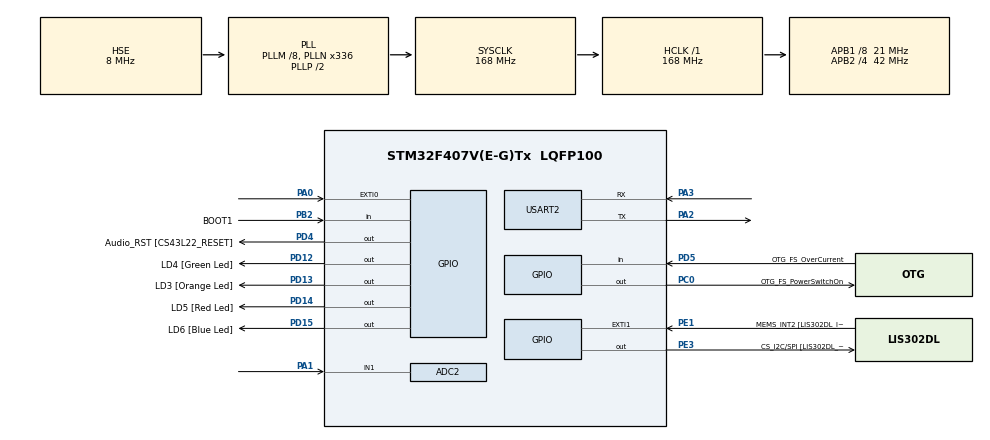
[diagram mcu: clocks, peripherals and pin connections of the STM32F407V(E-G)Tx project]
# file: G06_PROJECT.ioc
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ADC2.Channel-4\#ChannelRegularConversion=ADC_CHANNEL_1
ADC2.ClockPrescaler=ADC_CLOCK_SYNC_PCLK_DIV2
ADC2.ContinuousConvMode=DISABLE
ADC2.DMAContinuousRequests=DISABLE
ADC2.DataAlign=ADC_DATAALIGN_RIGHT
ADC2.DiscontinuousConvMode=DISABLE
ADC2.EOCSelection=ADC_EOC_SINGLE_CONV
ADC2.EnableAnalogWatchDog=false
ADC2.ExternalTrigConv=ADC_EXTERNALTRIGCONV_T2_TRGO
ADC2.ExternalTrigConvEdge=ADC_EXTERNALTRIGCONVEDGE_RISING
ADC2.InjNumberOfConversion=0
ADC2.NbrOfConversion=1
ADC2.NbrOfConversionFlag=1
ADC2.Rank-4\#ChannelRegularConversion=1
ADC2.Resolution=ADC_RESOLUTION_8B
ADC2.SamplingTime-4\#ChannelRegularConversion=ADC_SAMPLETIME_3CYCLES
ADC2.ScanConvMode=DISABLE
Mcu.Family=STM32F4
Mcu.Name=STM32F407V(E-G)Tx
Mcu.Package=LQFP100
NVIC.ADC_IRQn=true\:0\:0\:false\:false\:true
NVIC.PriorityGroup=NVIC_PRIORITYGROUP_0
NVIC.TIM2_IRQn=true\:0\:0\:false\:false\:true
PA0-WKUP.GPIO_PuPd=GPIO_PULLDOWN
PA0-WKUP.Signal=GPXTI0
PA1.Signal=ADCx_IN1
PA10.GPIO_Label=OTG_FS_ID
PA10.GPIO_Mode=GPIO_MODE_AF_PP
PA10.GPIO_PuPd=GPIO_NOPULL
PA10.GPIO_Speed=GPIO_SPEED_FREQ_LOW
PA10.Signal=USB_OTG_FS_ID
PA11.GPIO_Label=OTG_FS_DM
PA11.GPIO_Mode=GPIO_MODE_AF_PP
PA11.GPIO_PuPd=GPIO_NOPULL
PA11.GPIO_Speed=GPIO_SPEED_FREQ_LOW
PA11.Signal=USB_OTG_FS_DM
PA12.GPIO_Label=OTG_FS_DP
PA12.GPIO_Mode=GPIO_MODE_AF_PP
PA12.GPIO_PuPd=GPIO_NOPULL
PA12.GPIO_Speed=GPIO_SPEED_FREQ_LOW
PA12.Signal=USB_OTG_FS_DP
PA13.GPIO_Label=SWDIO
PA13.Signal=SYS_JTMS-SWDIO
PA14.GPIO_Label=SWCLK
PA14.Signal=SYS_JTCK-SWCLK
PA2.Mode=Asynchronous
PA2.Signal=USART2_TX
PA3.Mode=Asynchronous
PA3.Signal=USART2_RX
PA4.GPIO_Label=I2S3_WS [CS43L22_LRCK]
PA4.GPIO_Mode=GPIO_MODE_AF_PP
PA4.GPIO_PuPd=GPIO_NOPULL
PA4.GPIO_Speed=GPIO_SPEED_FREQ_LOW
PA4.Signal=I2S3_WS
PA5.GPIO_Label=SPI1_SCK [LIS302DL_SCL/SPC]
PA5.GPIO_Mode=GPIO_MODE_AF_PP
PA5.GPIO_PuPd=GPIO_NOPULL
PA5.GPIO_Speed=GPIO_SPEED_FREQ_LOW
PA5.Signal=SPI1_SCK
PA6.GPIO_Label=SPI1_MISO [LIS302DL_SDO]
PA6.GPIO_Mode=GPIO_MODE_AF_PP
PA6.GPIO_PuPd=GPIO_NOPULL
PA6.GPIO_Speed=GPIO_SPEED_FREQ_LOW
PA6.Signal=SPI1_MISO
PA7.GPIO_Label=SPI1_MOSI [LIS302DL_SDA/SDI/SDO]
PA7.GPIO_Mode=GPIO_MODE_AF_PP
PA7.GPIO_PuPd=GPIO_NOPULL
PA7.GPIO_Speed=GPIO_SPEED_FREQ_LOW
PA7.Signal=SPI1_MOSI
PA9.GPIO_Label=VBUS_FS
PA9.GPIO_Mode=GPIO_MODE_INPUT
PA9.GPIO_PuPd=GPIO_NOPULL
PA9.Signal=USB_OTG_FS_VBUS
PB10.GPIO_Label=CLK_IN [MP45DT02_CLK]
PB10.GPIO_Mode=GPIO_MODE_AF_PP
PB10.GPIO_PuPd=GPIO_NOPULL
PB10.GPIO_Speed=GPIO_SPEED_FREQ_LOW
PB10.Signal=I2S2_CK
PB2.GPIO_Label=BOOT1
PB2.GPIO_Mode=GPIO_MODE_INPUT
PB2.GPIO_PuPd=GPIO_NOPULL
PB2.Signal=GPIO_Input
PB3.GPIO_Label=SWO
PB3.Signal=SYS_JTDO-SWO
PB6.GPIO_Label=Audio_SCL [CS43L22_SCL]
PB6.GPIO_Mode=GPIO_MODE_AF_OD
PB6.GPIO_PuPd=GPIO_NOPULL
PB6.GPIO_Speed=GPIO_SPEED_FREQ_LOW
PB6.Signal=I2C1_SCL
PB9.GPIO_Label=Audio_SDA [CS43L22_SDA]
PB9.GPIO_Mode=GPIO_MODE_AF_OD
PB9.GPIO_PuPd=GPIO_NOPULL
PB9.GPIO_Speed=GPIO_SPEED_FREQ_LOW
PB9.Signal=I2C1_SDA
PC0.GPIO_Label=OTG_FS_PowerSwitchOn
PC0.GPIO_PuPd=GPIO_NOPULL
PC0.GPIO_Speed=GPIO_SPEED_FREQ_LOW
PC0.PinState=GPIO_PIN_SET
PC0.Signal=GPIO_Output
PC10.GPIO_Label=I2S3_SCK [CS43L22_SCLK]
PC10.GPIO_Mode=GPIO_MODE_AF_PP
PC10.GPIO_PuPd=GPIO_NOPULL
PC10.GPIO_Speed=GPIO_SPEED_FREQ_LOW
PC10.Signal=I2S3_CK
PC12.GPIO_Label=I2S3_SD [CS43L22_SDIN]
PC12.GPIO_Mode=GPIO_MODE_AF_PP
PC12.GPIO_PuPd=GPIO_NOPULL
PC12.GPIO_Speed=GPIO_SPEED_FREQ_LOW
PC12.Signal=I2S3_SD
PC14-OSC32_IN.GPIO_Label=PC14-OSC32_IN
PC14-OSC32_IN.Signal=RCC_OSC32_IN
PC15-OSC32_OUT.GPIO_Label=PC15-OSC32_OUT
PC15-OSC32_OUT.Signal=RCC_OSC32_OUT
PC3.GPIO_Label=PDM_OUT [MP45DT02_DOUT]
PC3.GPIO_Mode=GPIO_MODE_AF_PP
PC3.GPIO_PuPd=GPIO_NOPULL
PC3.GPIO_Speed=GPIO_SPEED_FREQ_LOW
PC3.Signal=I2S2_SD
PC7.GPIO_Label=I2S3_MCK [CS43L22_MCLK]
PC7.GPIO_Mode=GPIO_MODE_AF_PP
PC7.GPIO_PuPd=GPIO_NOPULL
PC7.GPIO_Speed=GPIO_SPEED_FREQ_LOW
PC7.Signal=I2S3_MCK
PD12.GPIO_Label=LD4 [Green Led]
PD12.GPIO_PuPd=GPIO_NOPULL
PD12.GPIO_Speed=GPIO_SPEED_FREQ_LOW
PD12.Signal=GPIO_Output
PD13.GPIO_Label=LD3 [Orange Led]
PD13.GPIO_PuPd=GPIO_NOPULL
PD13.GPIO_Speed=GPIO_SPEED_FREQ_LOW
PD13.Signal=GPIO_Output
PD14.GPIO_Label=LD5 [Red Led]
PD14.GPIO_PuPd=GPIO_NOPULL
PD14.GPIO_Speed=GPIO_SPEED_FREQ_LOW
PD14.Signal=GPIO_Output
PD15.GPIO_Label=LD6 [Blue Led]
PD15.GPIO_PuPd=GPIO_NOPULL
PD15.GPIO_Speed=GPIO_SPEED_FREQ_LOW
PD15.Signal=GPIO_Output
PD4.GPIO_Label=Audio_RST [CS43L22_RESET]
PD4.GPIO_PuPd=GPIO_NOPULL
PD4.GPIO_Speed=GPIO_SPEED_FREQ_LOW
PD4.Signal=GPIO_Output
PD5.GPIO_Label=OTG_FS_OverCurrent
PD5.GPIO_Mode=GPIO_MODE_INPUT
PD5.GPIO_PuPd=GPIO_NOPULL
PD5.Signal=GPIO_Input
PE1.GPIO_Label=MEMS_INT2 [LIS302DL_INT2]
PE1.GPIO_ModeDefaultEXTI=GPIO_MODE_EVT_RISING
PE1.GPIO_PuPd=GPIO_NOPULL
PE1.Signal=GPXTI1
PE3.GPIO_Label=CS_I2C/SPI [LIS302DL_CS_I2C/SPI]
PE3.GPIO_PuPd=GPIO_NOPULL
PE3.GPIO_Speed=GPIO_SPEED_FREQ_LOW
PE3.Signal=GPIO_Output
PH0-OSC_IN.GPIO_Label=PH0-OSC_IN
PH0-OSC_IN.Mode=HSE-External-Oscillator
PH0-OSC_IN.Signal=RCC_OSC_IN
PH1-OSC_OUT.GPIO_Label=PH1-OSC_OUT
PH1-OSC_OUT.Mode=HSE-External-Oscillator
PH1-OSC_OUT.Signal=RCC_OSC_OUT
ProjectManager.HeapSize=0x200
ProjectManager.StackSize=0x400
ProjectManager.TargetToolchain=MDK-ARM V5
RCC.48MHZClocksFreq_Value=48000000
RCC.AHBFreq_Value=168000000
RCC.APB1CLKDivider=RCC_HCLK_DIV8
RCC.APB1Freq_Value=21000000
RCC.APB1TimFreq_Value=42000000
RCC.APB2CLKDivider=RCC_HCLK_DIV4
RCC.APB2Freq_Value=42000000
RCC.APB2TimFreq_Value=84000000
RCC.CortexFreq_Value=168000000
RCC.HCLKFreq_Value=168000000
RCC.HSE_VALUE=8000000
RCC.HSI_VALUE=16000000
RCC.LSE_VALUE=32768
RCC.PLLM=8
RCC.PLLN=336
RCC.PLLQ=7
RCC.PLLSourceVirtual=RCC_PLLSOURCE_HSE
RCC.SYSCLKFreq_VALUE=168000000
RCC.SYSCLKSource=RCC_SYSCLKSOURCE_PLLCLK
RCC.VCOOutputFreq_Value=336000000
SH.ADCx_IN1.0=ADC2_IN1,IN1
TIM2.Period=105
TIM2.Prescaler=50
TIM2.TIM_MasterOutputTrigger=TIM_TRGO_UPDATE
USART2.VirtualMode=VM_ASYNC
VP_TIM2_VS_ClockSourceINT.Mode=Internal
board=STM32F4DISCOVERY

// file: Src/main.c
/**
  ******************************************************************************
  * File Name          : main.c
  * Description        : Main program body
  ******************************************************************************
  ** This notice applies to any and all portions of this file
  * that are not between comment pairs USER CODE BEGIN and
  * USER CODE END. Other portions of this file, whether
  * inserted by the user or by software development tools
  * are owned by their respective copyright owners.
  *
  * COPYRIGHT(c) 2017 STMicroelectronics
  *
  * Redistribution and use in source and binary forms, with or without modification,
  * are permitted provided that the following conditions are met:
  *   1. Redistributions of source code must retain the above copyright notice,
  *      this list of conditions and the following disclaimer.
  *   2. Redistributions in binary form must reproduce the above copyright notice,
  *      this list of conditions and the following disclaimer in the documentation
  *      and/or other materials provided with the distribution.
  *   3. Neither the name of STMicroelectronics nor the names of its contributors
  *      may be used to endorse or promote products derived from this software
  *      without specific prior written permission.
  *
  * THIS SOFTWARE IS PROVIDED BY THE COPYRIGHT HOLDERS AND CONTRIBUTORS "AS IS"
  * AND ANY EXPRESS OR IMPLIED WARRANTIES, INCLUDING, BUT NOT LIMITED TO, THE
  * IMPLIED WARRANTIES OF MERCHANTABILITY AND FITNESS FOR A PARTICULAR PURPOSE ARE
  * DISCLAIMED. IN NO EVENT SHALL THE COPYRIGHT HOLDER OR CONTRIBUTORS BE LIABLE
  * FOR ANY DIRECT, INDIRECT, INCIDENTAL, SPECIAL, EXEMPLARY, OR CONSEQUENTIAL
  * DAMAGES (INCLUDING, BUT NOT LIMITED TO, PROCUREMENT OF SUBSTITUTE GOODS OR
  * SERVICES; LOSS OF USE, DATA, OR PROFITS; OR BUSINESS INTERRUPTION) HOWEVER
  * CAUSED AND ON ANY THEORY OF LIABILITY, WHETHER IN CONTRACT, STRICT LIABILITY,
  * OR TORT (INCLUDING NEGLIGENCE OR OTHERWISE) ARISING IN ANY WAY OUT OF THE USE
  * OF THIS SOFTWARE, EVEN IF ADVISED OF THE POSSIBILITY OF SUCH DAMAGE.
  *
  ******************************************************************************
  */
#include "main.h"
#include "stm32f4xx_hal.h"
#include "adc.h"
#include "tim.h"
#include "usart.h"
#include "gpio.h"

/* USER CODE BEGIN Includes */
#include "math.h"
#include "string.h"
#include "stdlib.h"
/* USER CODE END Includes */

/* USER CODE BEGIN PV */
/* Private variables ---------------------------------------------------------*/
//---Push Button Control
int start = 0;

//---Buffer Control
#define WINDOW_SIZE 500
uint8_t ping[WINDOW_SIZE];
uint8_t pong[WINDOW_SIZE];

int pointer = 0;
int count = 0;
int ntransfers = 0;
unsigned int adcVal = 0;	//stores sample from ADC

//---Transmission Control
uint8_t Tbuffer[] = {0x35, 0x36, 0x37};
const uint32_t TIMEOUT = 200;
const uint16_t SIZE = sizeof(Tbuffer)/sizeof(Tbuffer[0]);
HAL_StatusTypeDef transmit_status;
HAL_StatusTypeDef receive_status;

uint8_t Rbuffer[SIZE];
/* USER CODE END PV */

void SystemClock_Config(void);

/* USER CODE BEGIN PFP */
/* Private function prototypes -----------------------------------------------*/
void transmit(void);
void receive(void);
/* USER CODE END PFP */

int main(void)
{

  /* MCU Configuration----------------------------------------------------------*/

  /* Reset of all peripherals, Initializes the Flash interface and the Systick. */
  HAL_Init();

  /* Configure the system clock */
  SystemClock_Config();

  /* Initialize all configured peripherals */
  MX_GPIO_Init();
  MX_USART2_UART_Init();
  MX_ADC2_Init();
  MX_TIM2_Init();

	/* Start Timer as interrupt */
	//HAL_TIM_Base_Start_IT(&htim2);

	/* Start ADC */
	//HAL_ADC_Start(&hadc2);

  /* USER CODE BEGIN 2 */
	HAL_UART_MspInit(&huart2);

	//enable pushbutton interrupt
	HAL_NVIC_EnableIRQ(EXTI0_IRQn);
	HAL_NVIC_SetPriority(EXTI0_IRQn, 0, 1);

	//enable USART2 interrupt
	HAL_NVIC_EnableIRQ(USART2_IRQn);
	HAL_NVIC_SetPriority(USART2_IRQn, 0, 1);
  /* USER CODE END 2 */

  /* Infinite loop */
  /* USER CODE BEGIN WHILE */
	printf("SIZE = %d\n", SIZE);
	for(int i = 0; i < SIZE; i++) {
		printf("buffer[%d] = %c\n", i, Tbuffer[i]);
	}
	//transmit();

  while (1)
  {
  /* USER CODE END WHILE */

  /* USER CODE BEGIN 3 */
		if(start)	{	//wait for a button press
			//inroduce a small delay
			HAL_Delay(100);

			//start TIM2
			HAL_TIM_Base_MspInit(&htim2);
			HAL_TIM_Base_Start_IT(&htim2);

			// Start ADC
			HAL_ADC_MspInit(&hadc2);
			HAL_ADC_Start(&hadc2);

			//LED ON to indicate start of recodring
			HAL_GPIO_WritePin(GPIOD, LD6_Pin, GPIO_PIN_SET);	//Green LED ON

			while(start) {	//record until start is reset (about 4s)

			}

			//LED OFF to indicate end of recodring
			HAL_GPIO_WritePin(GPIOD, LD6_Pin, GPIO_PIN_RESET);	//Green LED OFF

			//stop TIM and ADC (TURN GPIOs OFF)
			HAL_ADC_MspDeInit(&hadc2);
			HAL_TIM_Base_MspDeInit(&htim2);
		}

  }
  /* USER CODE END 3 */

}

/** System Clock Configuration
*/
void SystemClock_Config(void)
{

  RCC_OscInitTypeDef RCC_OscInitStruct;
  RCC_ClkInitTypeDef RCC_ClkInitStruct;

    /**Configure the main internal regulator output voltage
    */
  __HAL_RCC_PWR_CLK_ENABLE();

  __HAL_PWR_VOLTAGESCALING_CONFIG(PWR_REGULATOR_VOLTAGE_SCALE1);

    /**Initializes the CPU, AHB and APB busses clocks
    */
  RCC_OscInitStruct.OscillatorType = RCC_OSCILLATORTYPE_HSE;
  RCC_OscInitStruct.HSEState = RCC_HSE_ON;
  RCC_OscInitStruct.PLL.PLLState = RCC_PLL_ON;
  RCC_OscInitStruct.PLL.PLLSource = RCC_PLLSOURCE_HSE;
  RCC_OscInitStruct.PLL.PLLM = 8;
  RCC_OscInitStruct.PLL.PLLN = 336;
  RCC_OscInitStruct.PLL.PLLP = RCC_PLLP_DIV2;
  RCC_OscInitStruct.PLL.PLLQ = 7;
  if (HAL_RCC_OscConfig(&RCC_OscInitStruct) != HAL_OK)
  {
    _Error_Handler(__FILE__, __LINE__);
  }

    /**Initializes the CPU, AHB and APB busses clocks
    */
  RCC_ClkInitStruct.ClockType = RCC_CLOCKTYPE_HCLK|RCC_CLOCKTYPE_SYSCLK
                              |RCC_CLOCKTYPE_PCLK1|RCC_CLOCKTYPE_PCLK2;
  RCC_ClkInitStruct.SYSCLKSource = RCC_SYSCLKSOURCE_PLLCLK;
  RCC_ClkInitStruct.AHBCLKDivider = RCC_SYSCLK_DIV1;
  RCC_ClkInitStruct.APB1CLKDivider = RCC_HCLK_DIV8;
  RCC_ClkInitStruct.APB2CLKDivider = RCC_HCLK_DIV4;

  if (HAL_RCC_ClockConfig(&RCC_ClkInitStruct, FLASH_LATENCY_5) != HAL_OK)
  {
    _Error_Handler(__FILE__, __LINE__);
  }

    /**Configure the Systick interrupt time
    */
  HAL_SYSTICK_Config(HAL_RCC_GetHCLKFreq()/1000);

    /**Configure the Systick
    */
  HAL_SYSTICK_CLKSourceConfig(SYSTICK_CLKSOURCE_HCLK);

  /* SysTick_IRQn interrupt configuration */
  HAL_NVIC_SetPriority(SysTick_IRQn, 0, 0);
}

/* USER CODE BEGIN 4 */
/* HELPER FUNCTIONS */
//--- Interrupts
void HAL_TIM_PeriodElapsedCallback(TIM_HandleTypeDef *htim) {
		//range: 0 to 255 (8 bits)
		//System voltage = 2.98V

		//Measured voltage = (System voltage * adcVal)/255

		if(count == WINDOW_SIZE-1)	{
			count = 0;
			if(!pointer) {
				pointer = 1;
			}
			else {
				pointer = 0;
			}
			ntransfers++;
			//transmit();
			if(ntransfers == 64) {
				ntransfers = 0;
				start = 0;
			}
		}

		adcVal = HAL_ADC_GetValue(&hadc2);	//take a sample
		printf("%d\n", adcVal);

		//convrt adc value to volage
		if(!pointer) {
			ping[count] = adcVal;
		}
		else {
			pong[count] = adcVal;
		}

		//update valA and valB
		printf("%d\n", adcVal);

		count++;
}

void HAL_GPIO_EXTI_Callback(uint16_t GPIO_Pin) {
	if(GPIO_Pin == GPIO_PIN_0) {
		start = 1;
		printf("BUTTON is pressed!\n");
	}
}

void HAL_UART_TxCpltCallback(UART_HandleTypeDef *huart) {
	printf("Transmission Success!\n");
	transmit();
}

void HAL_UART_RxCpltCallback(UART_HandleTypeDef *huart) {
	printf("Receiving Success!\n");
}

void HAL_UART_ErrorCallback(UART_HandleTypeDef *huart) {
	printf("ERROR!\n");
	transmit();
}

void transmit(void) {
	if(!pointer) {
			transmit_status = HAL_UART_Transmit_IT(&huart2, pong, SIZE);
	}
	else {
			transmit_status = HAL_UART_Transmit_IT(&huart2, ping, SIZE);
	}

	//transmit_status = HAL_UART_Transmit(&huart2, Tbuffer, SIZE, TIMEOUT);

	if(transmit_status == HAL_OK) {
		printf("Transmission Status: OK!\n");
	}
	else if(HAL_TIMEOUT) {
		printf("Transmission Status: TIMEOUT!\n");
	}
	else if(HAL_BUSY) {
		printf("Transmission Status: BUSY!\n");
	}
	else if(HAL_ERROR) {
		printf("Transmission Status: ERROR!\n");
	}
}

void receive(void) {
	receive_status = HAL_UART_Receive_IT(&huart2, Rbuffer, SIZE);

	//receive_status = HAL_UART_Receive(&huart2, Rbuffer, SIZE, TIMEOUT);
	//__HAL_UART_ENABLE_IT(&huart2, UART_IT_RXNE);

	if(receive_status == HAL_OK) {
		printf("Receiving Status: OK!\t%d\n", sizeof(Rbuffer));
	}
	else if(receive_status == HAL_TIMEOUT) {
		printf("Receiving Status: TIMEOUT!\n");
	}
	else if(receive_status == HAL_BUSY) {
		printf("Receiving Status: BUSY!\n");
	}
	else if(receive_status == HAL_ERROR) {
		printf("Receiving Status: ERROR!\n");
	}
}

/* USER CODE END 4 */

void _Error_Handler(char * file, int line)
{
  while(1)
  {
  }
}

/************************ (C) COPYRIGHT STMicroelectronics *****END OF FILE****/
